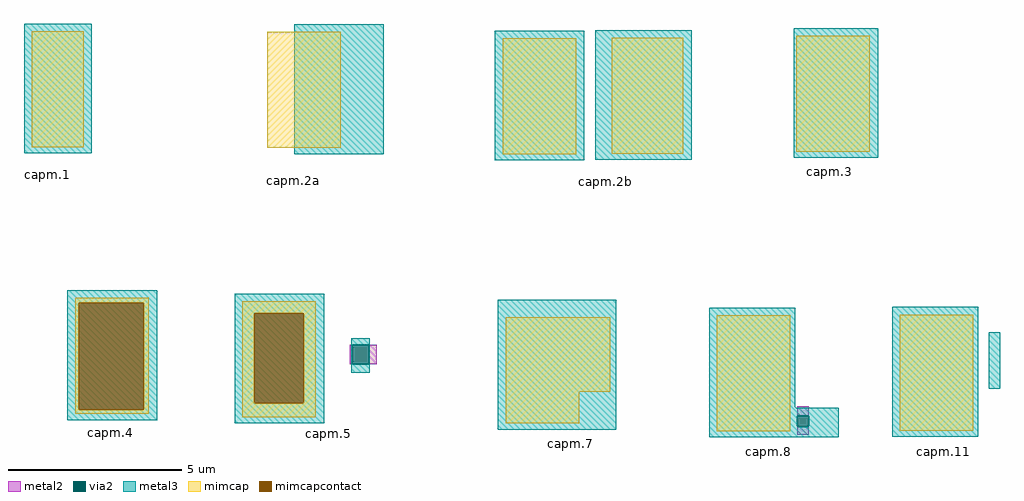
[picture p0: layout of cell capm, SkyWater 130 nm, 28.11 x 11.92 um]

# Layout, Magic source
magic
tech sky130A
magscale 1 2
<< metal2 >>
rect 3462 1192 3477 1306
rect 3574 1192 3618 1306
rect 6040 898 6106 952
rect 6040 786 6106 834
<< via2 >>
rect 3477 1192 3574 1306
rect 6040 834 6106 898
<< metal3 >>
rect 1587 2408 1978 3155
rect 3144 2404 3660 3151
rect 4299 2367 4815 3114
rect 4876 2370 5432 3117
rect 6021 2382 6506 3129
rect 1837 872 2353 1619
rect 2800 852 3316 1599
rect 3473 1306 3579 1342
rect 3473 1192 3477 1306
rect 3574 1192 3579 1306
rect 3473 1145 3579 1192
rect 4316 817 4999 1564
rect 5533 944 6030 1519
rect 5533 898 6278 944
rect 5533 834 6040 898
rect 6106 834 6278 898
rect 5533 772 6278 834
rect 6587 776 7084 1523
rect 7144 1052 7208 1378
<< mimcap >>
rect 1632 2443 1930 3111
rect 2989 2439 3412 3107
rect 4344 2402 4767 3070
rect 4973 2405 5384 3073
rect 6035 2417 6458 3085
rect 1882 1547 2305 1575
rect 1882 931 1903 1547
rect 2276 931 2305 1547
rect 1882 907 2305 931
rect 2845 1486 3268 1555
rect 2845 968 2912 1486
rect 3197 968 3268 1486
rect 2845 887 3268 968
rect 4361 1035 4962 1465
rect 4361 852 4784 1035
rect 5578 807 6001 1475
rect 6632 811 7055 1479
<< mimcapcontact >>
rect 1903 931 2276 1547
rect 2912 968 3197 1486
<< labels >>
flabel comment s 574 2516 580 2516 0 FreeSans 560 0 0 0 Correct_by_design
flabel comment s 510 2232 510 2232 0 FreeSans 560 0 0 0 mcon.3
flabel comment s 536 2059 536 2059 0 FreeSans 560 0 0 0 mcon.4
flabel comment s 393 3188 393 3188 0 FreeSans 800 0 0 0 Capm
flabel comment s 1725 2285 1725 2285 0 FreeSans 560 0 0 0 capm.1
flabel comment s 3141 2249 3141 2249 0 FreeSans 560 0 0 0 capm.2a
flabel comment s 4938 2245 4938 2245 0 FreeSans 560 0 0 0 capm.2b
flabel comment s 6227 2303 6227 2303 0 FreeSans 560 0 0 0 capm.3
flabel comment s 520 1215 520 1215 0 FreeSans 560 0 0 0 Not required?
flabel comment s 587 1019 587 1019 0 FreeSans 560 0 0 0 capm.10
flabel comment s 596 1605 596 1605 0 FreeSans 560 0 0 0 capm.6
flabel comment s 540 1770 540 1770 0 FreeSans 560 0 0 0 Not implemented
flabel comment s 592 1439 592 1439 0 FreeSans 560 0 0 0 capm.12
flabel comment s 2088 798 2088 798 0 FreeSans 560 0 0 0 capm.4
flabel comment s 3340 792 3340 792 0 FreeSans 560 0 0 0 capm.5
flabel comment s 4737 737 4737 737 0 FreeSans 560 0 0 0 capm.7
flabel comment s 5876 693 5876 693 0 FreeSans 560 0 0 0 capm.8
flabel comment s 6880 689 6880 689 0 FreeSans 560 0 0 0 capm.11
<< end >>
